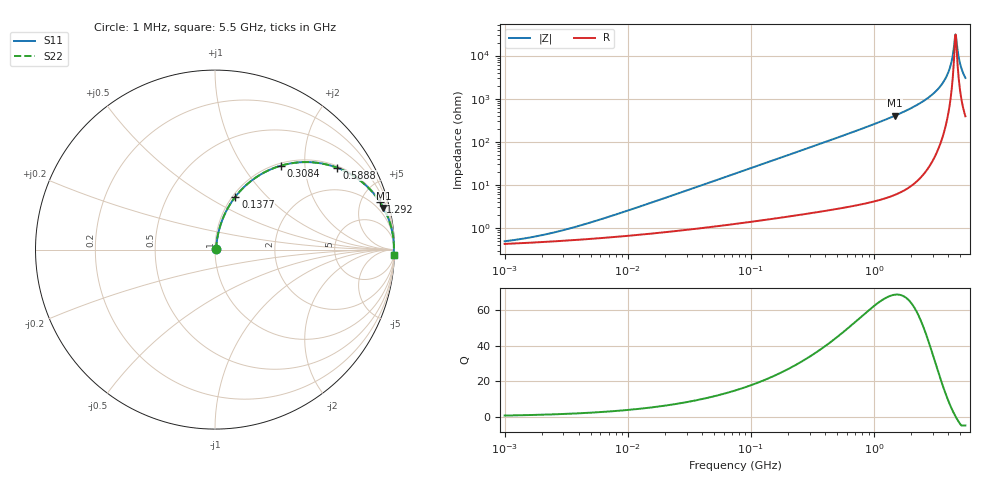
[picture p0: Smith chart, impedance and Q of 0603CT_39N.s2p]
# MHz  S  MA  R  50
!Freq  MagS11  AngS11  MagS21  AngS21  MagS12  AngS12  MagS22  AngS22
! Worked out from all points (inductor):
!   867 points, 1 MHz to 5.5 GHz, reference 50 ohm
!   read as one part in series: L = 39 nH near 7.538 MHz
!   highest Q = 68.6 at 1.471 GHz (marker M1), where L = 43.5 nH
!   self-resonance near 4.573 GHz
!   S11 on the Smith chart (normalised r, x): 1 MHz: 1.01, +0.00; 137.7 MHz: 1.03, +0.68; 308.4 MHz: 1.04, +1.52; 588.8 MHz: 1.06, +2.93; 1.292 GHz: 1.10, +6.88; 5.5 GHz: 9, -60
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1  0.004901 29.7  0.9957 -0.1  0.9957 -0.1  0.004901 29.7
2.006763  0.006779 45.9  0.9953 -0.3  0.9953 -0.3  0.006779 45.9
4.232522  0.01163 61.9  0.9946 -0.6  0.9946 -0.6  0.01163 61.9
17.73687  0.04376 77.5  0.9914 -2.5  0.9914 -2.5  0.04376 77.5
74.32841  0.1775 75.9  0.9721 -10.2  0.9721 -10.2  0.1775 75.9
137.7463  0.3159 68.9  0.9342 -18.4  0.9342 -18.4  0.3159 68.9
308.3978  0.5965 51.7  0.7854 -36.6  0.7854 -36.6  0.5965 51.7
314.5966  0.6041 51.2  0.7797 -37.1  0.7797 -37.1  0.6041 51.2
588.8445  0.8186 33.9  0.5578 -54.9  0.5578 -54.9  0.8186 33.9
1292.377  0.9565 16.1  0.2779 -73.0  0.2779 -73.0  0.9565 16.1
1318.353  0.9583 15.8  0.272 -73.4  0.272 -73.4  0.9583 15.8
1470.845  0.9671 13.9  0.2406 -75.2  0.2406 -75.2  0.9671 13.9
2467.621  0.991 6.7  0.1163 -82.2  0.1163 -82.2  0.991 6.7
3392.832  0.9962 3.1  0.05406 -84.4  0.05406 -84.4  0.9962 3.1
4018.146  0.997 1.3  0.02344 -81.9  0.02344 -81.9  0.997 1.3
4223.112  0.997 0.8  0.01468 -77.8  0.01468 -77.8  0.997 0.8
4438.533  0.9969 0.3  0.006345 -60.5  0.006345 -60.5  0.9969 0.3
4573.025  0.9968 0.0  0.003228 -4.3  0.003228 -4.3  0.9968 0.0
4711.592  0.9966 -0.3  0.00607 56.1  0.00607 56.1  0.9966 -0.3
4902.902  0.9964 -0.7  0.01264 73.0  0.01264 73.0  0.9964 -0.7
5101.979  0.996 -1.1  0.01957 77.8  0.01957 77.8  0.996 -1.1
5500  0.9952 -1.9  0.03291 80.7  0.03291 80.7  0.9952 -1.9
